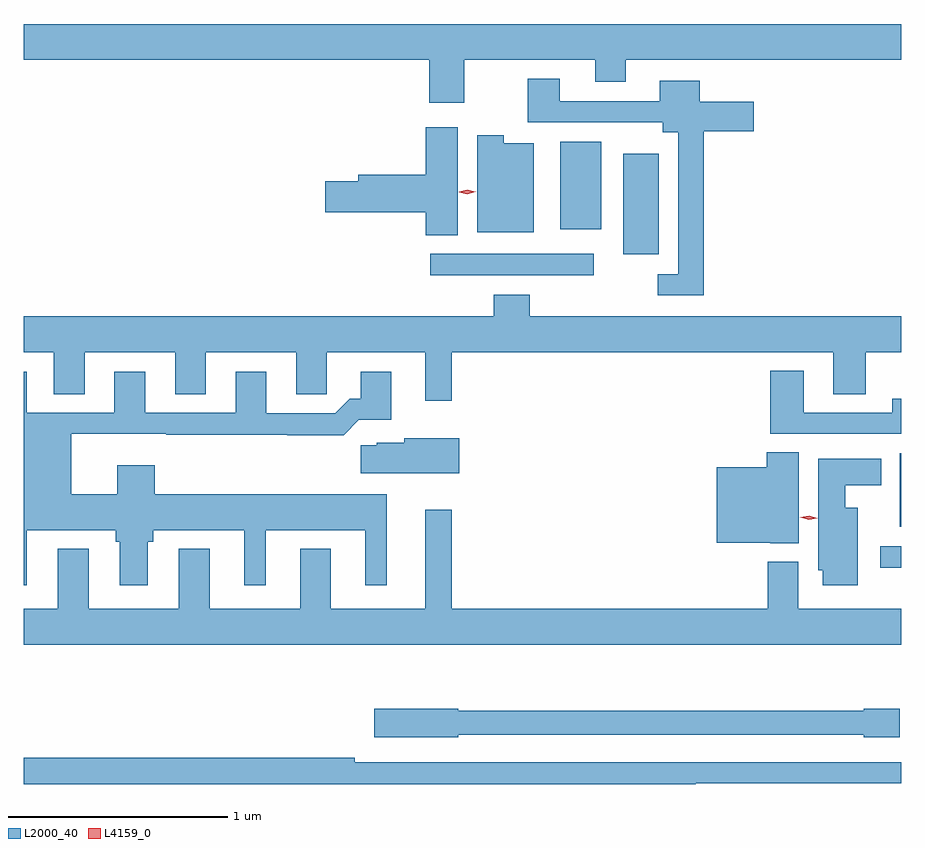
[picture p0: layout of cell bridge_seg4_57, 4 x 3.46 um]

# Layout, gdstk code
import gdstk
lib = gdstk.Library(unit=1e-6, precision=1e-09)
def R(c, l, rs):  # rectangles x0, y0, x1, y1
    for r in rs: c.add(gdstk.rectangle(r[:2], r[2:], *l))
def P(c, l, *ps):  # polygons
    for p in ps: c.add(gdstk.Polygon(p, *l))
L2000_40 = (2000, 40)
L4159_0 = (4159, 0)

bridge_seg4_57 = lib.new_cell('bridge_seg4_57')
R(bridge_seg4_57, L2000_40, [(739.515,767.867,739.611,767.964), (739.604,768.053,739.611,768.388), (737.463,769.2,738.208,769.296), (738.344,769.295,738.505,769.753), (738.056,769.409,738.244,769.807)])
P(bridge_seg4_57, L2000_40, [(737.619,770.18),(738.215,770.18),(738.215,770.081),(738.355,770.081),(738.355,770.18),(739.611,770.18),(739.611,770.344),(735.611,770.344),(735.611,770.18),(737.459,770.18),(737.459,769.986),(737.619,769.986)],
  [(738.71,769.856),(738.937,769.856),(738.937,769.99),(738.691,769.99),(738.691,770.086),(738.509,770.086),(738.509,769.992),(738.055,769.992),(738.055,770.095),(737.908,770.095),(737.908,769.896),(738.524,769.896),(738.524,769.85),(738.594,769.85),(738.594,769.203),(738.501,769.203),(738.501,769.107),(738.71,769.107)],
  [(737.59,769.873),(737.444,769.873),(737.444,769.658),(737.135,769.658),(737.135,769.628),(736.986,769.628),(736.986,769.486),(737.444,769.486),(737.444,769.381),(737.59,769.381)],
  [(737.935,769.801),(737.8,769.801),(737.8,769.837),(737.678,769.837),(737.678,769.394),(737.935,769.394)],
  [(737.563,768.848),(739.301,768.848),(739.301,768.658),(739.449,768.658),(739.449,768.848),(739.611,768.848),(739.611,769.012),(737.918,769.012),(737.918,769.111),(737.753,769.111),(737.753,769.012),(735.611,769.012),(735.611,768.848),(735.749,768.848),(735.749,768.658),(735.889,768.658),(735.889,768.848),(736.301,768.848),(736.301,768.658),(736.441,768.658),(736.441,768.848),(736.853,768.848),(736.853,768.658),(736.992,768.658),(736.992,768.848),(737.441,768.848),(737.441,768.627),(737.563,768.627)],
  [(739.611,768.637),(739.57,768.637),(739.57,768.573),(739.165,768.573),(739.165,768.763),(739.013,768.763),(739.013,768.477),(739.611,768.477)],
  [(735.625,768.038),(736.03,768.038),(736.03,767.985),(736.049,767.985),(736.049,767.787),(736.177,767.787),(736.177,767.985),(736.203,767.985),(736.203,768.038),(736.616,768.038),(736.616,767.787),(736.714,767.787),(736.714,768.038),(737.168,768.038),(737.168,767.787),(737.266,767.787),(737.266,768.202),(736.208,768.202),(736.208,768.334),(736.037,768.334),(736.037,768.202),(735.829,768.202),(735.829,768.476),(736.261,768.476),(736.261,768.472),(736.813,768.472),(736.813,768.47),(737.069,768.47),(737.139,768.54),(737.287,768.54),(737.287,768.76),(737.147,768.76),(737.147,768.637),(737.098,768.637),(737.031,768.57),(736.717,768.57),(736.717,768.76),(736.577,768.76),(736.577,768.573),(736.165,768.573),(736.165,768.76),(736.025,768.76),(736.025,768.573),(735.625,768.573),(735.625,768.76),(735.611,768.76),(735.611,767.787),(735.625,767.787)],
  [(737.596,768.457),(737.346,768.457),(737.346,768.436),(737.22,768.436),(737.22,768.425),(737.148,768.425),(737.148,768.296),(737.596,768.296)],
  [(739.144,768.392),(738.998,768.392),(738.998,768.325),(738.77,768.325),(738.77,767.981),(739.014,767.981),(739.014,767.978),(739.144,767.978)],
  [(739.411,768.139),(739.354,768.139),(739.354,768.242),(739.519,768.242),(739.519,768.364),(739.232,768.364),(739.232,767.856),(739.253,767.856),(739.253,767.787),(739.411,767.787)],
  [(739.611,767.68),(739.141,767.68),(739.141,767.893),(739.001,767.893),(739.001,767.68),(737.563,767.68),(737.563,768.13),(737.441,768.13),(737.441,767.68),(737.011,767.68),(737.011,767.953),(736.871,767.953),(736.871,767.68),(736.459,767.68),(736.459,767.953),(736.319,767.953),(736.319,767.68),(735.907,767.68),(735.907,767.953),(735.767,767.953),(735.767,767.68),(735.611,767.68),(735.611,767.516),(739.611,767.516)],
  [(737.592,767.106),(739.44,767.106),(739.44,767.093),(739.603,767.093),(739.603,767.223),(739.44,767.223),(739.44,767.215),(737.592,767.215),(737.592,767.223),(737.208,767.223),(737.208,767.093),(737.592,767.093)],
  [(738.674,766.884),(739.611,766.884),(739.611,766.98),(737.12,766.98),(737.12,767),(735.611,767),(735.611,766.881),(738.674,766.881)])
P(bridge_seg4_57, L4159_0, [(739.189,768.084),(739.151,768.096),(739.15,768.096),(739.151,768.096),(739.19,768.104),(739.228,768.093),(739.228,768.093),(739.228,768.093)],
  [(737.633,769.569),(737.596,769.578),(737.596,769.578),(737.596,769.579),(737.633,769.589),(737.67,769.58),(737.671,769.579),(737.67,769.579)])

lib.write_gds('bridge_seg4_57.gds')
